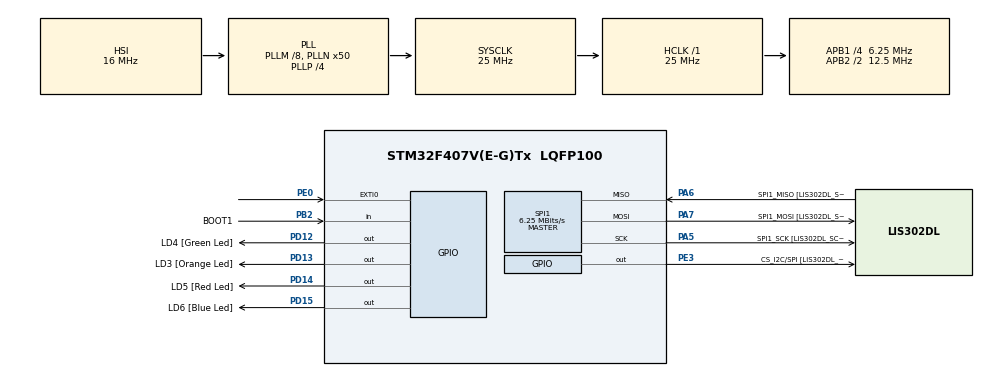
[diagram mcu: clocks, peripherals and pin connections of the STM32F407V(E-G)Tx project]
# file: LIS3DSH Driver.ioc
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Mcu.Family=STM32F4
Mcu.Name=STM32F407V(E-G)Tx
Mcu.Package=LQFP100
NVIC.PriorityGroup=NVIC_PRIORITYGROUP_0
PA13.GPIO_Label=SWDIO
PA13.Mode=Serial_Wire
PA13.Signal=SYS_JTMS-SWDIO
PA14.Mode=Serial_Wire
PA14.Signal=SYS_JTCK-SWCLK
PA5.GPIO_Label=SPI1_SCK [LIS302DL_SCL/SPC]
PA5.GPIO_Mode=GPIO_MODE_AF_PP
PA5.GPIO_PuPd=GPIO_NOPULL
PA5.GPIO_Speed=GPIO_SPEED_FREQ_LOW
PA5.Mode=Full_Duplex_Master
PA5.Signal=SPI1_SCK
PA6.GPIO_Label=SPI1_MISO [LIS302DL_SDO]
PA6.GPIO_Mode=GPIO_MODE_AF_PP
PA6.GPIO_PuPd=GPIO_NOPULL
PA6.GPIO_Speed=GPIO_SPEED_FREQ_LOW
PA6.Mode=Full_Duplex_Master
PA6.Signal=SPI1_MISO
PA7.GPIO_Label=SPI1_MOSI [LIS302DL_SDA/SDI/SDO]
PA7.GPIO_Mode=GPIO_MODE_AF_PP
PA7.GPIO_PuPd=GPIO_NOPULL
PA7.GPIO_Speed=GPIO_SPEED_FREQ_LOW
PA7.Mode=Full_Duplex_Master
PA7.Signal=SPI1_MOSI
PB2.GPIO_Label=BOOT1
PB2.GPIO_Mode=GPIO_MODE_INPUT
PB2.GPIO_PuPd=GPIO_NOPULL
PB2.Signal=GPIO_Input
PB3.GPIO_Label=SWO
PB3.Signal=SYS_JTDO-SWO
PD12.GPIO_Label=LD4 [Green Led]
PD12.GPIO_PuPd=GPIO_NOPULL
PD12.GPIO_Speed=GPIO_SPEED_FREQ_LOW
PD12.Signal=GPIO_Output
PD13.GPIO_Label=LD3 [Orange Led]
PD13.GPIO_PuPd=GPIO_NOPULL
PD13.GPIO_Speed=GPIO_SPEED_FREQ_LOW
PD13.Signal=GPIO_Output
PD14.GPIO_Label=LD5 [Red Led]
PD14.GPIO_PuPd=GPIO_NOPULL
PD14.GPIO_Speed=GPIO_SPEED_FREQ_LOW
PD14.Signal=GPIO_Output
PD15.GPIO_Label=LD6 [Blue Led]
PD15.GPIO_PuPd=GPIO_NOPULL
PD15.GPIO_Speed=GPIO_SPEED_FREQ_LOW
PD15.Signal=GPIO_Output
PE0.Signal=GPXTI0
PE3.GPIO_Label=CS_I2C/SPI [LIS302DL_CS_I2C/SPI]
PE3.GPIO_PuPd=GPIO_NOPULL
PE3.GPIO_Speed=GPIO_SPEED_FREQ_LOW
PE3.Signal=GPIO_Output
PH0-OSC_IN.GPIO_Label=PH0-OSC_IN
PH0-OSC_IN.Mode=HSE-External-Oscillator
PH0-OSC_IN.Signal=RCC_OSC_IN
PH1-OSC_OUT.GPIO_Label=PH1-OSC_OUT
PH1-OSC_OUT.Mode=HSE-External-Oscillator
PH1-OSC_OUT.Signal=RCC_OSC_OUT
ProjectManager.HeapSize=0x200
ProjectManager.StackSize=0x400
ProjectManager.TargetToolchain=STM32CubeIDE
RCC.48MHZClocksFreq_Value=14285714.285714285
RCC.AHBFreq_Value=25000000
RCC.APB1CLKDivider=RCC_HCLK_DIV4
RCC.APB1Freq_Value=6250000
RCC.APB1TimFreq_Value=12500000
RCC.APB2CLKDivider=RCC_HCLK_DIV2
RCC.APB2Freq_Value=12500000
RCC.APB2TimFreq_Value=25000000
RCC.CortexFreq_Value=25000000
RCC.HCLKFreq_Value=25000000
RCC.HSE_VALUE=8000000
RCC.HSI_VALUE=16000000
RCC.LSE_VALUE=32768
RCC.PLLM=8
RCC.PLLN=50
RCC.PLLP=RCC_PLLP_DIV4
RCC.PLLQ=7
RCC.SYSCLKFreq_VALUE=25000000
RCC.SYSCLKSource=RCC_SYSCLKSOURCE_PLLCLK
RCC.VCOOutputFreq_Value=100000000
SPI1.CalculateBaudRate=6.25 MBits/s
SPI1.Direction=SPI_DIRECTION_2LINES
SPI1.Mode=SPI_MODE_MASTER
SPI1.VirtualType=VM_MASTER
board=STM32F407G-DISC1

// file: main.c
/* USER CODE BEGIN Header */
/**
  ******************************************************************************
  * @file           : main.c
  * @brief          : Main program body
  ******************************************************************************
  * @attention
  *
  * <h2><center>&copy; Copyright (c) 2021 STMicroelectronics.
  * All rights reserved.</center></h2>
  *
  * This software component is licensed by ST under BSD 3-Clause license,
  * the "License"; You may not use this file except in compliance with the
  * License. You may obtain a copy of the License at:
  *                        opensource.org/licenses/BSD-3-Clause
  *
  ******************************************************************************
  */
/* USER CODE END Header */
#include "main.h"
#include "YNV_LIS3DSH.h"
#include "YNV_LIS3DSH.c"

/* USER CODE BEGIN PM */

/*LEDs Set*/
//Macros for turning LEDs ON
#define LED_GREEN_ON()					(gpio_set(GPIOD, GPIO12))
#define LED_ORANGE_ON()					(gpio_set(GPIOD, GPIO13))
#define LED_RED_ON()					(gpio_set(GPIOD, GPIO14))
#define LED_BLUE_ON()					(gpio_set(GPIOD, GPIO15))
//Macros for turning LEDs OFF
#define LED_GREEN_OFF()					(gpio_set(GPIOD, GPIO12))
#define LED_ORANGE_OFF()				(gpio_set(GPIOD, GPIO13))
#define LED_RED_OFF()					(gpio_set(GPIOD, GPIO14))
#define LED_BLUE_OFF()					(gpio_set(GPIOD, GPIO15))
/* USER CODE END PM */

SPI_HandleTypeDef hspi1;

/* USER CODE BEGIN PV */
LIS3DSH_init_t LIS3DSH_initHandle;
LIS3DSH_Status_t LIS3DSH_status;
uint8_t try = 0;
/* USER CODE END PV */

void SystemClock_Config(void);
static void MX_GPIO_Init(void);
static void MX_SPI1_Init(void);

int main(void)
{

  /* MCU Configuration--------------------------------------------------------*/

  /* Reset of all peripherals, Initializes the Flash interface and the Systick. */
  HAL_Init();

  /* Configure the system clock */
  SystemClock_Config();

  /* Initialize all configured peripherals */
  MX_GPIO_Init();
  MX_SPI1_Init();
  /* USER CODE BEGIN 2 */
  LIS3DSH_initHandle.XEnable		= LIS3DSH_X_AXIS_ENB;
  LIS3DSH_initHandle.YEnable		= LIS3DSH_Y_AXIS_ENB;
  LIS3DSH_initHandle.OutputDataRate	= LIS3DSH_ODR_PD;
  LIS3DSH_initHandle.AntiAliasing	= LIS3DSH_BW_800_HZ;
  LIS3DSH_initHandle.FullScale		= LIS3DSH_FSCALE_2G;

  /* USER CODE END 2 */
  do
  {
    try += 1;
    LIS3DSH_Status_t LIS3DSH_Init(posSPI, PosInitDef);

  }
  while (try < 3 && LIS3DSH_status == LIS3DSH_ERROR);
  while (LIS3DSH_status = LIS3DSH_ERROR)
  {
		HAL_GPIO_TogglePin(GPIOD, LD5_Pin);				//If there is an error while functioning, a LED will blink so the user can be aware of it
		HAL_Delay(500);
  }
  /* Infinite loop */
  /* USER CODE BEGIN WHILE */
  uint16_t posX;
  uint16_t posY;
  while (1)
  {
	  LIS3DSH_status = LIS3DSH_Get_X(&hspi1, LIS3DSH_OUT_X, &posX);		//getting X axis value in posX variable
	  if(LIS3DSH_status == LIS3DSH_ERROR)
	  		{
	  			HAL_GPIO_TogglePin(GPIOD, LD5_Pin);
	  		}
	  LIS3DSH_status = LIS3DSH_Get_Y(&hspi1, LIS3DSH_OUT_Y, &posY);		//getting Y axis value in posY variable
	  if(LIS3DSH_status == LIS3DSH_ERROR)
	  		{
	  			HAL_GPIO_TogglePin(GPIOD, LD5_Pin);
	  		}
	  float higherX = abs(posX);
	  float higherY = abs(posY);

	  if (higherX > higherY)			//Comparing absolute value of X and Y axis to know which axis LED will be powered on
	  	  {
		  if (posX > 0)					//Looking at axis value to know wich side will be powered on depending of the sign of the value
		  	  {
			  	  HAL_GPIO_TogglePin(GPIOD, LD1_Pin);
		  	  }
		  else if(posX < 0)
		  	  {
			  	  HAL_GPIO_TogglePin(GPIOD, LD3_Pin);
		  	  }
	  	  }
	  else if (higherY > higherX)
  	  {
		  if (posY > 0)
	  	  	  {
			  	  HAL_GPIO_TogglePin(GPIOD, LD2_Pin);
	  	  	  }
		  else if(posY < 0)
		  	  {
			  	  HAL_GPIO_TogglePin(GPIOD, LD4_Pin);
		  	  }
  	  }

    /* USER CODE END WHILE */

  }
}

void SystemClock_Config(void)
{
  RCC_OscInitTypeDef RCC_OscInitStruct = {0};
  RCC_ClkInitTypeDef RCC_ClkInitStruct = {0};

  /** Configure the main internal regulator output voltage
  */
  __HAL_RCC_PWR_CLK_ENABLE();
  __HAL_PWR_VOLTAGESCALING_CONFIG(PWR_REGULATOR_VOLTAGE_SCALE1);
  /** Initializes the RCC Oscillators according to the specified parameters
  * in the RCC_OscInitTypeDef structure.
  */
  RCC_OscInitStruct.OscillatorType = RCC_OSCILLATORTYPE_HSI;
  RCC_OscInitStruct.HSIState = RCC_HSI_ON;
  RCC_OscInitStruct.HSICalibrationValue = RCC_HSICALIBRATION_DEFAULT;
  RCC_OscInitStruct.PLL.PLLState = RCC_PLL_ON;
  RCC_OscInitStruct.PLL.PLLSource = RCC_PLLSOURCE_HSI;
  RCC_OscInitStruct.PLL.PLLM = 8;
  RCC_OscInitStruct.PLL.PLLN = 50;
  RCC_OscInitStruct.PLL.PLLP = RCC_PLLP_DIV4;
  RCC_OscInitStruct.PLL.PLLQ = 7;
  if (HAL_RCC_OscConfig(&RCC_OscInitStruct) != HAL_OK)
  {
    Error_Handler();
  }
  /** Initializes the CPU, AHB and APB buses clocks
  */
  RCC_ClkInitStruct.ClockType = RCC_CLOCKTYPE_HCLK|RCC_CLOCKTYPE_SYSCLK
                              |RCC_CLOCKTYPE_PCLK1|RCC_CLOCKTYPE_PCLK2;
  RCC_ClkInitStruct.SYSCLKSource = RCC_SYSCLKSOURCE_PLLCLK;
  RCC_ClkInitStruct.AHBCLKDivider = RCC_SYSCLK_DIV1;
  RCC_ClkInitStruct.APB1CLKDivider = RCC_HCLK_DIV4;
  RCC_ClkInitStruct.APB2CLKDivider = RCC_HCLK_DIV2;

  if (HAL_RCC_ClockConfig(&RCC_ClkInitStruct, FLASH_LATENCY_0) != HAL_OK)
  {
    Error_Handler();
  }
}

static void MX_SPI1_Init(void)
{

  /* SPI1 parameter configuration*/
  hspi1.Instance = SPI1;
  hspi1.Init.Mode = SPI_MODE_MASTER;
  hspi1.Init.Direction = SPI_DIRECTION_2LINES;
  hspi1.Init.DataSize = SPI_DATASIZE_8BIT;
  hspi1.Init.CLKPolarity = SPI_POLARITY_LOW;
  hspi1.Init.CLKPhase = SPI_PHASE_1EDGE;
  hspi1.Init.NSS = SPI_NSS_SOFT;
  hspi1.Init.BaudRatePrescaler = SPI_BAUDRATEPRESCALER_2;
  hspi1.Init.FirstBit = SPI_FIRSTBIT_MSB;
  hspi1.Init.TIMode = SPI_TIMODE_DISABLE;
  hspi1.Init.CRCCalculation = SPI_CRCCALCULATION_DISABLE;
  hspi1.Init.CRCPolynomial = 10;
  if (HAL_SPI_Init(&hspi1) != HAL_OK)
  {
    Error_Handler();
  }

}

static void MX_GPIO_Init(void)
{
  GPIO_InitTypeDef GPIO_InitStruct = {0};

  /* GPIO Ports Clock Enable */
  __HAL_RCC_GPIOE_CLK_ENABLE();
  __HAL_RCC_GPIOH_CLK_ENABLE();
  __HAL_RCC_GPIOA_CLK_ENABLE();
  __HAL_RCC_GPIOB_CLK_ENABLE();
  __HAL_RCC_GPIOD_CLK_ENABLE();

  /*Configure GPIO pin Output Level */
  HAL_GPIO_WritePin(CS_I2C_SPI_GPIO_Port, CS_I2C_SPI_Pin, GPIO_PIN_RESET);

  /*Configure GPIO pin Output Level */
  HAL_GPIO_WritePin(GPIOD, LD4_Pin|LD3_Pin|LD5_Pin|LD6_Pin, GPIO_PIN_RESET);

  /*Configure GPIO pin : CS_I2C_SPI_Pin */
  GPIO_InitStruct.Pin = CS_I2C_SPI_Pin;
  GPIO_InitStruct.Mode = GPIO_MODE_OUTPUT_PP;
  GPIO_InitStruct.Pull = GPIO_NOPULL;
  GPIO_InitStruct.Speed = GPIO_SPEED_FREQ_LOW;
  HAL_GPIO_Init(CS_I2C_SPI_GPIO_Port, &GPIO_InitStruct);

  /*Configure GPIO pin : BOOT1_Pin */
  GPIO_InitStruct.Pin = BOOT1_Pin;
  GPIO_InitStruct.Mode = GPIO_MODE_INPUT;
  GPIO_InitStruct.Pull = GPIO_NOPULL;
  HAL_GPIO_Init(BOOT1_GPIO_Port, &GPIO_InitStruct);

  /*Configure GPIO pins : LD4_Pin LD3_Pin LD5_Pin LD6_Pin */
  GPIO_InitStruct.Pin = LD4_Pin|LD3_Pin|LD5_Pin|LD6_Pin;
  GPIO_InitStruct.Mode = GPIO_MODE_OUTPUT_PP;
  GPIO_InitStruct.Pull = GPIO_NOPULL;
  GPIO_InitStruct.Speed = GPIO_SPEED_FREQ_LOW;
  HAL_GPIO_Init(GPIOD, &GPIO_InitStruct);

  /*Configure GPIO pin : PE0 */
  GPIO_InitStruct.Pin = GPIO_PIN_0;
  GPIO_InitStruct.Mode = GPIO_MODE_IT_RISING;
  GPIO_InitStruct.Pull = GPIO_NOPULL;
  HAL_GPIO_Init(GPIOE, &GPIO_InitStruct);

}

void Error_Handler(void)
{
}

/************************ (C) COPYRIGHT STMicroelectronics *****END OF FILE****/
